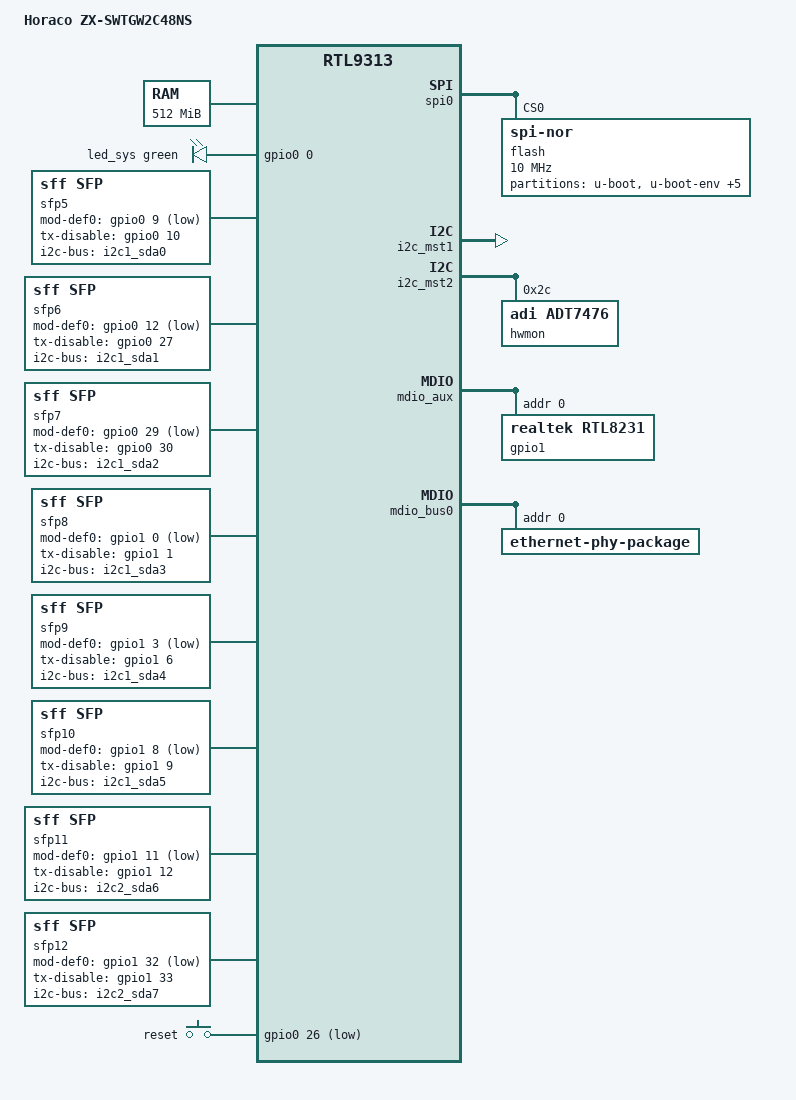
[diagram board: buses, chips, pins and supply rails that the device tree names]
// SPDX-License-Identifier: GPL-2.0-or-later
/dts-v1/;

#include "rtl931x.dtsi"

#include <dt-bindings/input/input.h>
#include <dt-bindings/gpio/gpio.h>
#include <dt-bindings/leds/common.h>
#include <dt-bindings/phy/phy.h>

/ {
	compatible = "horaco,zx-swtgw2c48ns", "realtek,rtl9313-soc";
	model = "Horaco ZX-SWTGW2C48NS";

	aliases {
		label-mac-device = &ethernet0;
		led-boot = &led_sys;
		led-failsafe = &led_sys;
		led-running = &led_sys;
		led-upgrade = &led_sys;
	};

	memory@0 {
		device_type = "memory";
		reg = <0x00000000 0x10000000>, /* 256 MiB lowmem  */
		      <0x90000000 0x10000000>; /* 256 MiB highmem */
	};

	chosen {
		/* The kernel console runs 38400n8; U-Boot itself talks 115200. */
		stdout-path = "serial0:38400n8";
	};

	leds {
		compatible = "gpio-leds";
		pinctrl-names = "default";
		pinctrl-0 = <&pinmux_disable_sys_led>;

		led_sys: led-0 {
			color = <LED_COLOR_ID_GREEN>;
			function = LED_FUNCTION_STATUS;
			gpios = <&gpio0 0 GPIO_ACTIVE_HIGH>;
		};
	};

	led_set {
		compatible = "realtek,rtl9300-leds";
		realtek,led-mode = <RTL93XX_LED_MODE_SINGLE_COLOR_SCAN>;
		/*
		 * No active-low property, deliberately: the shared led_init
		 * sets the polarity bit exactly when the property is absent,
		 * which is the state this board needs. Adding it inverts every
		 * port LED (empty cages light, active ports go dark).
		 */

		/* The board is wired for three LEDs per port; the first is unused. */
		led_set0 = <RTL93XX_LED_SET_NONE
			    (RTL93XX_LED_SET_5G | RTL93XX_LED_SET_2P5G |
			     RTL93XX_LED_SET_1G | RTL93XX_LED_SET_100M |
			     RTL93XX_LED_SET_LINK | RTL93XX_LED_SET_ACT)
			    (RTL93XX_LED_SET_10G | RTL93XX_LED_SET_LINK |
			     RTL93XX_LED_SET_ACT)>;
	};

	i2c_sys: i2c-system {
		compatible = "i2c-gpio";
		status = "disabled";
		#address-cells = <1>;
		#size-cells = <0>;

		pinctrl-names = "default";
		pinctrl-0 = <&pinmux_disable_jtag>;

		scl-gpios = <&gpio0 4 (GPIO_ACTIVE_HIGH | GPIO_OPEN_DRAIN)>;
		sda-gpios = <&gpio0 3 (GPIO_ACTIVE_HIGH | GPIO_OPEN_DRAIN)>;
		i2c-gpio,delay-us = <28>;
	};

	sfp5: sfp-p5 {
		compatible = "sff,sfp";
		i2c-bus = <&i2c1_sda0>;
		mod-def0-gpios = <&gpio0 9 GPIO_ACTIVE_LOW>;
		tx-disable-gpios = <&gpio0 10 GPIO_ACTIVE_HIGH>;
	};

	sfp6: sfp-p6 {
		compatible = "sff,sfp";
		i2c-bus = <&i2c1_sda1>;
		mod-def0-gpios = <&gpio0 12 GPIO_ACTIVE_LOW>;
		tx-disable-gpios = <&gpio0 27 GPIO_ACTIVE_HIGH>;
	};

	sfp7: sfp-p7 {
		compatible = "sff,sfp";
		i2c-bus = <&i2c1_sda2>;
		mod-def0-gpios = <&gpio0 29 GPIO_ACTIVE_LOW>;
		tx-disable-gpios = <&gpio0 30 GPIO_ACTIVE_HIGH>;
	};

	sfp8: sfp-p8 {
		compatible = "sff,sfp";
		i2c-bus = <&i2c1_sda3>;
		mod-def0-gpios = <&gpio1 0 GPIO_ACTIVE_LOW>;
		tx-disable-gpios = <&gpio1 1 GPIO_ACTIVE_HIGH>;
	};

	sfp9: sfp-p9 {
		compatible = "sff,sfp";
		i2c-bus = <&i2c1_sda4>;
		mod-def0-gpios = <&gpio1 3 GPIO_ACTIVE_LOW>;
		tx-disable-gpios = <&gpio1 6 GPIO_ACTIVE_HIGH>;
	};

	sfp10: sfp-p10 {
		compatible = "sff,sfp";
		i2c-bus = <&i2c1_sda5>;
		mod-def0-gpios = <&gpio1 8 GPIO_ACTIVE_LOW>;
		tx-disable-gpios = <&gpio1 9 GPIO_ACTIVE_HIGH>;
	};

	sfp11: sfp-p11 {
		compatible = "sff,sfp";
		i2c-bus = <&i2c2_sda6>;
		mod-def0-gpios = <&gpio1 11 GPIO_ACTIVE_LOW>;
		tx-disable-gpios = <&gpio1 12 GPIO_ACTIVE_HIGH>;
	};

	sfp12: sfp-p12 {
		compatible = "sff,sfp";
		i2c-bus = <&i2c2_sda7>;
		mod-def0-gpios = <&gpio1 32 GPIO_ACTIVE_LOW>;
		tx-disable-gpios = <&gpio1 33 GPIO_ACTIVE_HIGH>;
	};

	keys {
		compatible = "gpio-keys";

		button-reset {
			label = "reset";
			gpios = <&gpio0 26 GPIO_ACTIVE_LOW>;
			linux,code = <KEY_RESTART>;
		};
	};
};

&spi0 {
	status = "okay";

	flash@0 {
		compatible = "jedec,spi-nor";
		reg = <0>;
		spi-max-frequency = <10000000>;

		partitions {
			compatible = "fixed-partitions";
			#address-cells = <1>;
			#size-cells = <1>;

			partition@0 {
				label = "u-boot";
				reg = <0x0000000 0x00e0000>;
				read-only;
			};

			partition@e0000 {
				label = "u-boot-env";
				reg = <0x00e0000 0x0010000>;
				read-only;

				nvmem-layout {
					compatible = "u-boot,env";

					macaddr_ubootenv_ethaddr: ethaddr {
						#nvmem-cell-cells = <1>;
					};
				};
			};

			partition@f0000 {
				label = "u-boot-env2";
				reg = <0x00f0000 0x0010000>;
				read-only;
			};

			partition@100000 {
				label = "jffs";
				reg = <0x0100000 0x0100000>;
				read-only;
			};

			partition@200000 {
				label = "jffs2";
				reg = <0x0200000 0x0100000>;
				read-only;
			};

			partition@300000 {
				label = "firmware";
				compatible = "openwrt,uimage", "denx,uimage";
				reg = <0x0300000 0x1c00000>;
				openwrt,ih-magic = <0x83800000>;
			};

			partition@1f00000 {
				label = "oeminfo";
				reg = <0x1f00000 0x0100000>;
				read-only;
			};
		};
	};
};

&i2c_mst1 {
	status = "okay";

	i2c1_sda0: i2c@0 { reg = <0>; };
	i2c1_sda1: i2c@1 { reg = <1>; };
	i2c1_sda2: i2c@2 { reg = <2>; };
	i2c1_sda3: i2c@3 { reg = <3>; };
	i2c1_sda4: i2c@4 { reg = <4>; };
	i2c1_sda5: i2c@5 { reg = <5>; };
};

&i2c_mst2 {
	status = "okay";

	i2c2_sda6: i2c@6 { reg = <6>; };
	i2c2_sda7: i2c@7 { reg = <7>; };

	i2c2_fan: i2c@8 {
		reg = <8>;
		#address-cells = <1>;
		#size-cells = <0>;

		hwmon@2c {
			compatible = "adi,adt7476";
			reg = <0x2c>;
		};
	};
};

&mdio_aux {
	status = "okay";

	gpio1: gpio@0 {
		compatible = "realtek,rtl8231";
		reg = <0>;

		gpio-controller;
		#gpio-cells = <2>;
		gpio-ranges = <&gpio1 0 0 37>;

		led-controller {
			compatible = "realtek,rtl8231-leds";
			status = "disabled";
		};
	};
};

&ethernet0 {
	nvmem-cells = <&macaddr_ubootenv_ethaddr 0>;
	nvmem-cell-names = "mac-address";
};

&mdio_ctrl {
	pinctrl-names = "default";
	pinctrl-0 = <&pinmux_enable_mdc_mdio_0>;
};

&mdio_bus0 {
	/* RTL8264B */
	ethernet-phy-package@0 {
		#address-cells = <1>;
		#size-cells = <0>;
		reg = <0>;

		PHY_C45(0, 0)
		PHY_C45(8, 1)
		PHY_C45(16, 2)
		PHY_C45(24, 3)
	};
};

&switch0 {
	ethernet-ports {
		#address-cells = <1>;
		#size-cells = <0>;

		SWITCH_PORT_LED(0,  1, 2, 0, 0, usxgmii)
		SWITCH_PORT_LED(8,  2, 3, 0, 0, usxgmii)
		SWITCH_PORT_LED(16, 3, 4, 0, 0, usxgmii)
		SWITCH_PORT_LED(24, 4, 5, 0, 0, usxgmii)

		SWITCH_PORT_SFP(32, 5,  6,  0, 5)
		SWITCH_PORT_SFP(40, 6,  7,  0, 6)
		SWITCH_PORT_SFP(48, 7,  8,  0, 7)
		SWITCH_PORT_SFP(50, 8,  9,  0, 8)
		SWITCH_PORT_SFP(52, 9,  10, 0, 9)
		SWITCH_PORT_SFP(53, 10, 11, 0, 10)
		SWITCH_PORT_SFP(54, 11, 12, 0, 11)
		SWITCH_PORT_SFP(55, 12, 13, 0, 12)

		/* CPU port */
		port@56 {
			ethernet = <&ethernet0>;
			reg = <56>;
			phy-mode = "internal";
			fixed-link {
				speed = <1000>;
				full-duplex;
			};
		};
	};
};

&serdes6 {
	tx-polarity = <PHY_POL_INVERT>;
	realtek,sfp-dac-detect;
};

&serdes7 {
	tx-polarity = <PHY_POL_INVERT>;
	realtek,sfp-dac-detect;
};

&serdes8 {
	tx-polarity = <PHY_POL_INVERT>;
	realtek,sfp-dac-detect;
};

&serdes9 {
	tx-polarity = <PHY_POL_INVERT>;
	realtek,sfp-dac-detect;
};

&serdes10 {
	tx-polarity = <PHY_POL_INVERT>;
	realtek,sfp-dac-detect;
};

&serdes11 {
	tx-polarity = <PHY_POL_INVERT>;
	realtek,sfp-dac-detect;
};

&serdes12 {
	tx-polarity = <PHY_POL_INVERT>;
	realtek,sfp-dac-detect;
};

&serdes13 {
	tx-polarity = <PHY_POL_INVERT>;
	realtek,sfp-dac-detect;
};
